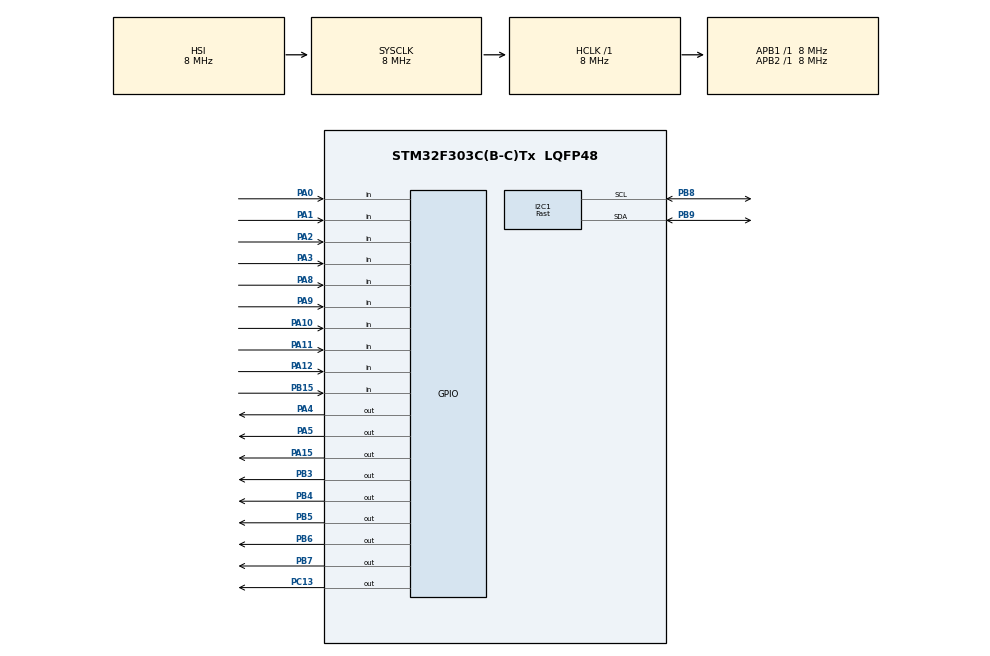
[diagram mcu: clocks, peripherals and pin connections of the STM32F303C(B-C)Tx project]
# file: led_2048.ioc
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I2C1.I2C_Speed_Mode=I2C_Fast
I2C1.Timing=0x0000020B
Mcu.Family=STM32F3
Mcu.Name=STM32F303C(B-C)Tx
Mcu.Package=LQFP48
NVIC.PriorityGroup=NVIC_PRIORITYGROUP_4
PA0.Signal=GPIO_Input
PA1.Signal=GPIO_Input
PA10.Signal=GPIO_Input
PA11.Signal=GPIO_Input
PA12.Signal=GPIO_Input
PA13.Signal=SYS_JTMS-SWDIO
PA14.Signal=SYS_JTCK-SWCLK
PA15.Signal=GPIO_Output
PA2.Signal=GPIO_Input
PA3.Signal=GPIO_Input
PA4.Signal=GPIO_Output
PA5.Signal=GPIO_Output
PA8.Signal=GPIO_Input
PA9.Signal=GPIO_Input
PB15.Signal=GPIO_Input
PB3.Signal=GPIO_Output
PB4.Signal=GPIO_Output
PB5.Signal=GPIO_Output
PB6.Signal=GPIO_Output
PB7.Signal=GPIO_Output
PB8.GPIO_FM8=__NULL
PB8.GPIO_Mode=GPIO_MODE_AF_OD
PB8.GPIO_Pu=GPIO_NOPULL
PB8.GPIO_Speed=GPIO_SPEED_FREQ_HIGH
PB8.Mode=I2C
PB8.Signal=I2C1_SCL
PB9.GPIO_FM9=__NULL
PB9.GPIO_Mode=GPIO_MODE_AF_OD
PB9.GPIO_Pu=GPIO_NOPULL
PB9.GPIO_Speed=GPIO_SPEED_FREQ_HIGH
PB9.Mode=I2C
PB9.Signal=I2C1_SDA
PC13.Signal=GPIO_Output
ProjectManager.HeapSize=0x200
ProjectManager.StackSize=0x400
ProjectManager.TargetToolchain=STM32CubeIDE
RCC.AHBFreq_Value=8000000
RCC.APB1Freq_Value=8000000
RCC.APB2Freq_Value=8000000
RCC.CortexFreq_Value=8000000
RCC.HSE_VALUE=8000000
RCC.HSI_VALUE=8000000
RCC.LSE_VALUE=32768
RCC.SYSCLKFreq_VALUE=8000000
board=custom

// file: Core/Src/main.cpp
/* USER CODE BEGIN Header */
/**
  ******************************************************************************
  * @file           : main.c
  * @brief          : Main program body
  ******************************************************************************
  * @attention
  *
  * Copyright (c) 2024 STMicroelectronics.
  * All rights reserved.
  *
  * This software is licensed under terms that can be found in the LICENSE file
  * in the root directory of this software component.
  * If no LICENSE file comes with this software, it is provided AS-IS.
  *
  ******************************************************************************
  */
/* USER CODE END Header */
#include "main.h"
#include "../../Games/Game_2048.h"

/* USER CODE BEGIN PM */

#define HIGH GPIO_PIN_SET
#define LOW GPIO_PIN_RESET
#define I2C_TIMEOUT 2000

// keep this undefined if you want afterglow protection
//#define afterglow

#define TLC_ADDRESS 0xC0
#define TLC_PWM_MODE 0xFF // see section 9.6.6 of the led driver datasheet
#define TLC_OSC_OFF 0x10
#define TLC_OSC_ON 0x01

// TLC Registers
#define MODE1 0x00 // w/o auto increment
#define LEDOUT0 0x94 // w/ auto increment
#define PWM0 0xA2 // w/ auto increment

// PORT A GPIOs
#define BUTTON_D1 GPIO_PIN_11
#define BUTTON_U1 GPIO_PIN_10
#define BUTTON_R1 GPIO_PIN_12
#define BUTTON_L1 GPIO_PIN_9
#define BUTTON_U2 GPIO_PIN_0
#define BUTTON_R2 GPIO_PIN_1
#define BUTTON_D2 GPIO_PIN_2
#define BUTTON_L2 GPIO_PIN_3
#define TLC_RESET GPIO_PIN_15
#define BUTTON_PORT GPIOA

// PORT B GPIOs
#define SCORE_DAT GPIO_PIN_0
#define SCORE_LAT GPIO_PIN_1
#define SCORE_CLK GPIO_PIN_2
#define MUX_1 GPIO_PIN_3
#define MUX_2 GPIO_PIN_4
#define MUX_3 GPIO_PIN_5
#define MUX_4 GPIO_PIN_6
#define MUX_5 GPIO_PIN_7
#define MUX_PORT GPIOB

// PORT C GPIOs
#define LED_R_DEBUG GPIO_PIN_13
#define LED_B_DEBUG GPIO_PIN_14
#define LED_G_DEBUG GPIO_PIN_15

/* USER CODE END PM */

I2C_HandleTypeDef hi2c1;

void SystemClock_Config(void);
static void MX_GPIO_Init(void);
static void MX_I2C1_Init(void);

/* USER CODE BEGIN 0 */

const uint16_t BUTTON_LIST[8] = {
		  BUTTON_U1,
		  BUTTON_R1,
		  BUTTON_D1,
		  BUTTON_L1,
		  BUTTON_U2,
		  BUTTON_R2,
		  BUTTON_D2,
		  BUTTON_L2
};

const uint8_t COLOURS[45] = {
		  0, 0, 0, // null, 0
		  2, 0, 0, // red, ID 1
		  2, 2, 0, // yellow, ID 2
		  0, 2, 0, // green, ID 3
		  0, 2, 2, // cyan, ID 4
		  0, 0, 2, // blue, ID 5
		  2, 0, 2, // magenta, ID 6
		  2, 2, 2, // white, ID 7
		  2, 1, 0, // orange, ID 8
		  1, 0, 2, // purple, ID 9
		  1, 2, 0, // lime, ID 10
		  0, 1, 2, // azure, ID 11
		  0, 2, 1, // turqoise, ID 12
		  2, 0, 1, // rose, ID 13
		  3, 1, 2, // pink, ID 14
};

/* USER CODE END 0 */

int main(void)
{

  /* MCU Configuration--------------------------------------------------------*/

  /* Reset of all peripherals, Initializes the Flash interface and the Systick. */
  HAL_Init();

  /* Configure the system clock */
  SystemClock_Config();

  /* Initialize all configured peripherals */
  MX_GPIO_Init();
  MX_I2C1_Init();
  /* USER CODE BEGIN 2 */

  HAL_GPIO_WritePin(GPIOC, LED_R_DEBUG, LOW);
  HAL_GPIO_WritePin(GPIOC, LED_B_DEBUG, LOW);
  HAL_GPIO_WritePin(GPIOC, LED_G_DEBUG, LOW);

  // Turns off all multiplexer pins
  HAL_GPIO_WritePin(MUX_PORT, MUX_1, HIGH);
  HAL_GPIO_WritePin(MUX_PORT, MUX_2, HIGH);
  HAL_GPIO_WritePin(MUX_PORT, MUX_3, HIGH);
  HAL_GPIO_WritePin(MUX_PORT, MUX_4, HIGH);
  HAL_GPIO_WritePin(MUX_PORT, MUX_5, HIGH);

  // colour ID system --> uint8_t, BBBBIIII
  // [3:0] --> colour identifier
  // [7:4] --> brightness

  /*
#define RED_1 0b00000001
#define YEL_1 0b00000010
#define GRN_1 0b00000011
#define CYN_1 0b00000100
#define BLU_1 0b00000101
#define MAG_1 0b00000110
#define WHT_1 0b00000111

#define RED_2 0b00010001
#define YEL_2 0b00010010
#define GRN_2 0b00010011
#define CYN_2 0b00010100
#define BLU_2 0b00010101
#define MAG_2 0b00010110
#define WHT_2 0b00010111

#define RED_3 0b00100001
#define YEL_3 0b00100010
#define GRN_3 0b00100011
#define CYN_3 0b00100100
#define BLU_3 0b00100101
#define MAG_3 0b00100110
#define WHT_3 0b00100111
   */

  // init variables that hold button data

  //uint8_t rainbow_on[17] = {PWM0, 0xFF, 0, 0, 0xFF, 0xFF, 0, 0, 0xFF, 0, 0, 0xFF, 0xFF, 0, 0, 0xFF, 0};
  //uint8_t rainbow_mid[17] = {PWM0, 16, 0, 0, 16, 16, 0, 0, 16, 0, 0, 16, 16, 0, 0, 16, 0};
  //uint8_t rainbow_dim[17] = {PWM0, 8, 0, 0, 8, 8, 0, 0, 8, 0, 0, 8, 8, 0, 0, 8, 0};
  //uint8_t all_off[17] = {PWM0, 0, 0, 0, 0, 0, 0, 0, 0, 0, 0, 0, 0, 0, 0, 0, 0};
  //uint8_t all_dim[17] = {PWM0, 16, 16, 16, 16, 16, 16, 16, 16, 16, 16, 16, 16, 16, 16, 16, 16};
  //uint8_t rain1[17] = {PWM0, 32, 0, 0, 100, 30, 0, 20, 20, 0, 0, 32, 0, 0, 24, 12, 0};

  // init buffers
  uint8_t grid[25] =
 		  {0, 0, 0, 0, 0,
 		   0, 0, 0, 0, 0,
 		   0, 0, 0, 0, 0,
 		   0, 0, 0, 0, 0,
 		   0, 0, 0, 0, 0
 		  };
  uint8_t row1_buf[17], row2_buf[17], row3_buf[17], row4_buf[17], row5_buf[17];
  uint8_t* matrix[5] = {row1_buf, row2_buf, row3_buf, row4_buf, row5_buf};
  for (int r = 0; r < 5; r++)
  	  matrix[r][0] = PWM0;
  set_grid(matrix, grid, 8);

  // LED driver initalization
  TLC_init();

  HAL_GPIO_WritePin(GPIOC, LED_B_DEBUG, HIGH);
  HAL_GPIO_WritePin(GPIOC, LED_G_DEBUG, HIGH);

  //set_pixel(matrix, 12, 0x01, 8);
  uint8_t test = 0;
  uint32_t test_time_diff = HAL_GetTick();
  uint32_t status_diff_millis = HAL_GetTick();

  Game_2048* test_2048 = new Game_2048(5, 5); // TODO test with other grids, like 4x4, 4x5, etc

  /* USER CODE END 2 */

  /* Infinite loop */
  while (1)
  {

    /* USER CODE BEGIN 3 */

	  /*
	  if (prev_button_states != button_states) {

		  if ((button_states&0x01) == 0 && (prev_button_states&0x01) != 0) {
			  solid_colour_grid(grid, 0x06);
			  set_grid(matrix, grid, 8);
		  }
		  else if ((button_states&0x02) == 0 && (prev_button_states&0x02) != 0)
		  {
			  solid_colour_grid(grid, 0x02);
			  set_grid(matrix, grid, 8);
		  }
		  else if ((button_states&0x04) == 0 && (prev_button_states&0x04) != 0)
		  {
			  solid_colour_grid(grid, 0x04);
			  set_grid(matrix, grid, 8);
		  }
		  else if ((button_states&0x08) == 0 && (prev_button_states&0x08) != 0)
		  {
			  solid_colour_grid(grid, 0x07);
			  set_grid(matrix, grid, 8);
		  }

	  }
	  */

	  test_2048->main_2048(matrix, grid);

	  /*
	if (HAL_GetTick() - test_time_diff > 50)
	{
	  	set_pixel(matrix, test, 0x01, 8);
	  	test = (test+1)%25;
	  	test_time_diff = HAL_GetTick();
	}
		*/

  }

  HAL_GPIO_WritePin(GPIOA, TLC_RESET, LOW);
  HAL_PWR_EnableSleepOnExit();

  /* USER CODE END 3 */
}

void SystemClock_Config(void)
{
  RCC_OscInitTypeDef RCC_OscInitStruct = {0};
  RCC_ClkInitTypeDef RCC_ClkInitStruct = {0};
  RCC_PeriphCLKInitTypeDef PeriphClkInit = {0};

  /** Initializes the RCC Oscillators according to the specified parameters
  * in the RCC_OscInitTypeDef structure.
  */
  RCC_OscInitStruct.OscillatorType = RCC_OSCILLATORTYPE_HSI;
  RCC_OscInitStruct.HSIState = RCC_HSI_ON;
  RCC_OscInitStruct.HSICalibrationValue = RCC_HSICALIBRATION_DEFAULT;
  RCC_OscInitStruct.PLL.PLLState = RCC_PLL_NONE;
  if (HAL_RCC_OscConfig(&RCC_OscInitStruct) != HAL_OK)
  {
    Error_Handler();
  }

  /** Initializes the CPU, AHB and APB buses clocks
  */
  RCC_ClkInitStruct.ClockType = RCC_CLOCKTYPE_HCLK|RCC_CLOCKTYPE_SYSCLK
                              |RCC_CLOCKTYPE_PCLK1|RCC_CLOCKTYPE_PCLK2;
  RCC_ClkInitStruct.SYSCLKSource = RCC_SYSCLKSOURCE_HSI;
  RCC_ClkInitStruct.AHBCLKDivider = RCC_SYSCLK_DIV1;
  RCC_ClkInitStruct.APB1CLKDivider = RCC_HCLK_DIV1;
  RCC_ClkInitStruct.APB2CLKDivider = RCC_HCLK_DIV1;

  if (HAL_RCC_ClockConfig(&RCC_ClkInitStruct, FLASH_LATENCY_0) != HAL_OK)
  {
    Error_Handler();
  }
  PeriphClkInit.PeriphClockSelection = RCC_PERIPHCLK_I2C1;
  PeriphClkInit.I2c1ClockSelection = RCC_I2C1CLKSOURCE_HSI;
  if (HAL_RCCEx_PeriphCLKConfig(&PeriphClkInit) != HAL_OK)
  {
    Error_Handler();
  }
}

static void MX_I2C1_Init(void)
{

	  hi2c1.Instance = I2C1;
	  hi2c1.Init.Timing = 0x0000020B;
	  hi2c1.Init.OwnAddress1 = 0;
	  hi2c1.Init.AddressingMode = I2C_ADDRESSINGMODE_7BIT;
	  hi2c1.Init.DualAddressMode = I2C_DUALADDRESS_DISABLE;
	  hi2c1.Init.OwnAddress2 = 0;
	  hi2c1.Init.OwnAddress2Masks = I2C_OA2_NOMASK;
	  hi2c1.Init.GeneralCallMode = I2C_GENERALCALL_DISABLE;
	  hi2c1.Init.NoStretchMode = I2C_NOSTRETCH_DISABLE;
	  if (HAL_I2C_Init(&hi2c1) != HAL_OK)
	  {
	    Error_Handler();
	  }

	  /** Configure Analogue filter
	  */
	  if (HAL_I2CEx_ConfigAnalogFilter(&hi2c1, I2C_ANALOGFILTER_ENABLE) != HAL_OK)
	  {
	    Error_Handler();
	  }

	  /** Configure Digital filter
	  */
	  if (HAL_I2CEx_ConfigDigitalFilter(&hi2c1, 0) != HAL_OK)
	  {
	    Error_Handler();
	  }

}

static void MX_GPIO_Init(void)
{
  GPIO_InitTypeDef GPIO_InitStruct = {0};

  /* GPIO Ports Clock Enable */
  __HAL_RCC_GPIOC_CLK_ENABLE();
  __HAL_RCC_GPIOA_CLK_ENABLE();
  __HAL_RCC_GPIOB_CLK_ENABLE();

  /*Configure GPIO pin Output Level */
  HAL_GPIO_WritePin(GPIOC, GPIO_PIN_13, GPIO_PIN_RESET);

  /*Configure GPIO pin Output Level */
  HAL_GPIO_WritePin(GPIOA, GPIO_PIN_4|GPIO_PIN_5|GPIO_PIN_15, GPIO_PIN_RESET);

  /*Configure GPIO pin Output Level */
  HAL_GPIO_WritePin(GPIOB, GPIO_PIN_3|GPIO_PIN_4|GPIO_PIN_5|GPIO_PIN_6
                          |GPIO_PIN_7, GPIO_PIN_RESET);

  /*Configure GPIO pin : PC13 */
  GPIO_InitStruct.Pin = GPIO_PIN_13;
  GPIO_InitStruct.Mode = GPIO_MODE_OUTPUT_PP;
  GPIO_InitStruct.Pull = GPIO_NOPULL;
  GPIO_InitStruct.Speed = GPIO_SPEED_FREQ_LOW;
  HAL_GPIO_Init(GPIOC, &GPIO_InitStruct);

  /*Configure GPIO pins : PA0 PA1 PA2 PA3
                           PA8 PA9 PA10 PA11
                           PA12 */
  GPIO_InitStruct.Pin = GPIO_PIN_0|GPIO_PIN_1|GPIO_PIN_2|GPIO_PIN_3
                          |GPIO_PIN_8|GPIO_PIN_9|GPIO_PIN_10|GPIO_PIN_11
                          |GPIO_PIN_12;
  GPIO_InitStruct.Mode = GPIO_MODE_INPUT;
  GPIO_InitStruct.Pull = GPIO_NOPULL;
  HAL_GPIO_Init(GPIOA, &GPIO_InitStruct);

  /*Configure GPIO pins : PA4 PA5 PA15 */
  GPIO_InitStruct.Pin = GPIO_PIN_4|GPIO_PIN_5|GPIO_PIN_15;
  GPIO_InitStruct.Mode = GPIO_MODE_OUTPUT_PP;
  GPIO_InitStruct.Pull = GPIO_NOPULL;
  GPIO_InitStruct.Speed = GPIO_SPEED_FREQ_LOW;
  HAL_GPIO_Init(GPIOA, &GPIO_InitStruct);

  /*Configure GPIO pin : PB15 */
  GPIO_InitStruct.Pin = GPIO_PIN_15;
  GPIO_InitStruct.Mode = GPIO_MODE_INPUT;
  GPIO_InitStruct.Pull = GPIO_NOPULL;
  HAL_GPIO_Init(GPIOB, &GPIO_InitStruct);

  /*Configure GPIO pins : PB3 PB4 PB5 PB6
                           PB7 */
  GPIO_InitStruct.Pin = GPIO_PIN_3|GPIO_PIN_4|GPIO_PIN_5|GPIO_PIN_6
                          |GPIO_PIN_7;
  GPIO_InitStruct.Mode = GPIO_MODE_OUTPUT_PP;
  GPIO_InitStruct.Pull = GPIO_NOPULL;
  GPIO_InitStruct.Speed = GPIO_SPEED_FREQ_LOW;
  HAL_GPIO_Init(GPIOB, &GPIO_InitStruct);

}

/* USER CODE BEGIN 4 */

void TLC_init() {

	// Reset pin must be held high for LED driver to not be standby mode
	HAL_GPIO_WritePin(GPIOA, TLC_RESET, LOW);
	HAL_GPIO_WritePin(GPIOA, TLC_RESET, HIGH);

	uint8_t buffer[2] = {MODE1, TLC_OSC_ON}; // Initialized to MODE1 register init; see section 9.6.1
	HAL_I2C_Master_Transmit(&hi2c1, TLC_ADDRESS, buffer, 2, HAL_MAX_DELAY);

#ifdef afterglow
	row_on();
#endif
}

void row_off() {
	uint8_t buffer[5] = {LEDOUT0, 0x00, 0x00, 0x00, 0x00};
	HAL_I2C_Master_Transmit(&hi2c1, TLC_ADDRESS, buffer, 5, HAL_MAX_DELAY);
}

void row_on() {
	uint8_t buffer[5] = {LEDOUT0, TLC_PWM_MODE, TLC_PWM_MODE, TLC_PWM_MODE, TLC_PWM_MODE};
	HAL_I2C_Master_Transmit(&hi2c1, TLC_ADDRESS, buffer, 5, HAL_MAX_DELAY);
}

void LED_heartbeat() {
	static uint8_t led_on = 0;

	if (led_on) {
		HAL_GPIO_WritePin(GPIOC, LED_R_DEBUG, HIGH);
		led_on = 0;
	}
	else {
		HAL_GPIO_WritePin(GPIOC, LED_R_DEBUG, LOW);
		led_on = 1;
	}

}

void set_LEDs(uint8_t* row_buffer) {

#ifndef afterglow
	row_off();
#endif

	// sets the colours of the LEDs
	HAL_I2C_Master_Transmit(&hi2c1, TLC_ADDRESS, row_buffer, 17, HAL_MAX_DELAY);
}

void set_grid(uint8_t** rows, uint8_t* grid, uint8_t bright_modifier) {

	uint8_t grid_index = 0, r, c, i, brightness, colour_id;

	uint8_t col, test;

	for (r = 0; r < 5; r++) {

		for (c = 0; c < 5; c++) {

			brightness =((grid[grid_index]>>4) + 1) * bright_modifier - 1;
			colour_id = (grid[grid_index] & 0b00001111)*3;

			for (i = 0; i < 3; i++) {
				rows[r][(c*3) + i + 1] = COLOURS[colour_id+i] * brightness;;
			}

			grid_index++;
		}
	}
}

void set_pixel(uint8_t** rows, uint8_t pixel, uint8_t colour, uint8_t bright_modifier) {

	if (pixel >= 25)
		return;

	uint8_t r = pixel/5, c = pixel%5, brightness, colour_id;

	brightness =((colour>>4) + 1) * bright_modifier - 1;
	colour_id = (colour & 0b00001111)*3;

	for (int i = 0; i < 3; i++) {
		rows[r][(c*3) + i + 1] = COLOURS[colour_id+i] * brightness;;
	}

}

void solid_colour_grid(uint8_t* grid, uint8_t colour) {
	for (int i = 0; i < 25; i++) {
		grid[i] = colour;
	}
}

void display(uint8_t** rows) {

	for (int k = 0; k < 5; ++k) {
		set_LEDs(rows[k]);
		HAL_GPIO_WritePin(MUX_PORT, MUX_1 << ((k+4)%5), HIGH);
		HAL_GPIO_WritePin(MUX_PORT, MUX_1 << k, LOW);
	#ifndef afterglow
		row_on();
	#endif

	}
}

uint8_t update_button_states(uint8_t current_states, uint32_t* time_diff) {

	uint8_t new_states = 0x00;
	uint32_t* temp;

	for (uint8_t btn = 0; btn < 8; btn++) {
		temp = &time_diff[btn];
		new_states |= ((query_button_change(temp, BUTTON_LIST[btn], (current_states>>btn)&0x01))<<btn);
	}

	return current_states ^ new_states;
}

uint8_t query_button_change(uint32_t* last_pressed, uint16_t button, uint8_t current_state) {

	if (HAL_GPIO_ReadPin(BUTTON_PORT, button) != current_state
			&& HAL_GetTick() - *last_pressed > 10)
	{
		*last_pressed = HAL_GetTick();
		return 1;
	}

	return 0;
}

void disable_mux5() {
	HAL_GPIO_WritePin(MUX_PORT, MUX_5, HIGH);
}

/* USER CODE END 4 */

void Error_Handler(void)
{
  __disable_irq();
  while (1)
  {
  }
}
